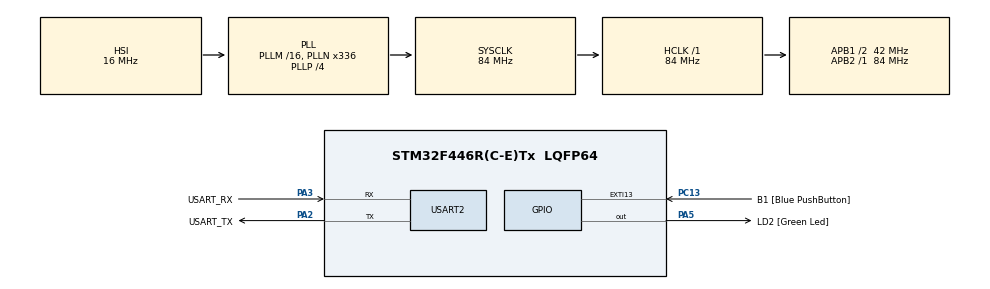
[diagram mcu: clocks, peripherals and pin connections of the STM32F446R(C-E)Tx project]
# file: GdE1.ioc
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Mcu.Family=STM32F4
Mcu.Name=STM32F446R(C-E)Tx
Mcu.Package=LQFP64
NVIC.PriorityGroup=NVIC_PRIORITYGROUP_0
PA13.GPIO_Label=TMS
PA13.Mode=Serial_Wire
PA13.Signal=SYS_JTMS-SWDIO
PA14.GPIO_Label=TCK
PA14.Mode=Serial_Wire
PA14.Signal=SYS_JTCK-SWCLK
PA2.GPIO_Label=USART_TX
PA2.Mode=Asynchronous
PA2.Signal=USART2_TX
PA3.GPIO_Label=USART_RX
PA3.Mode=Asynchronous
PA3.Signal=USART2_RX
PA5.GPIO_Label=LD2 [Green Led]
PA5.Signal=GPIO_Output
PB3.GPIO_Label=SWO
PB3.Signal=SYS_JTDO-SWO
PC13.GPIO_Label=B1 [Blue PushButton]
PC13.GPIO_ModeDefaultEXTI=GPIO_MODE_IT_FALLING
PC13.Signal=GPXTI13
PC14-OSC32_IN.Mode=LSE-External-Oscillator
PC14-OSC32_IN.Signal=RCC_OSC32_IN
PC15-OSC32_OUT.Mode=LSE-External-Oscillator
PC15-OSC32_OUT.Signal=RCC_OSC32_OUT
PH0-OSC_IN.Mode=HSE-External-Oscillator
PH0-OSC_IN.Signal=RCC_OSC_IN
PH1-OSC_OUT.Mode=HSE-External-Oscillator
PH1-OSC_OUT.Signal=RCC_OSC_OUT
ProjectManager.HeapSize=0x200
ProjectManager.StackSize=0x400
ProjectManager.TargetToolchain=STM32CubeIDE
RCC.48MHZClocksFreq_Value=84000000
RCC.AHBFreq_Value=84000000
RCC.APB1CLKDivider=RCC_HCLK_DIV2
RCC.APB1Freq_Value=42000000
RCC.APB1TimFreq_Value=84000000
RCC.APB2Freq_Value=84000000
RCC.APB2TimFreq_Value=84000000
RCC.CortexFreq_Value=84000000
RCC.FLatency-AdvancedSettings=FLASH_LATENCY_2
RCC.HCLKFreq_Value=84000000
RCC.HSE_VALUE=8000000
RCC.HSI_VALUE=16000000
RCC.PLLN=336
RCC.PLLP=RCC_PLLP_DIV4
RCC.SYSCLKFreq_VALUE=84000000
RCC.SYSCLKSource=RCC_SYSCLKSOURCE_PLLCLK
RCC.USBFreq_Value=168000000
RCC.VCOOutputFreq_Value=336000000
USART2.VirtualMode=VM_ASYNC
board=NUCLEO-F446RE

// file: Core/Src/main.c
/* USER CODE BEGIN Header */
/**
  ******************************************************************************
  * @file           : main.c
  * @brief          : Main program body
  ******************************************************************************
  * @attention
  *
  * Copyright (c) 2025 STMicroelectronics.
  * All rights reserved.
  *
  * This software is licensed under terms that can be found in the LICENSE file
  * in the root directory of this software component.
  * If no LICENSE file comes with this software, it is provided AS-IS.
  *
  ******************************************************************************
  */
/* USER CODE END Header */
#include "main.h"

/* USER CODE BEGIN Includes */
#include "functions.h"

/* USER CODE END Includes */

UART_HandleTypeDef huart2;

void SystemClock_Config(void);
static void MX_GPIO_Init(void);
static void MX_USART2_UART_Init(void);

int main(void)
{

  /* MCU Configuration--------------------------------------------------------*/

  /* Reset of all peripherals, Initializes the Flash interface and the Systick. */
  HAL_Init();

  /* Configure the system clock */
  SystemClock_Config();

  /* Initialize all configured peripherals */
  MX_GPIO_Init();
  MX_USART2_UART_Init();
  /* USER CODE BEGIN 2 */

  /* ----------- Ejercicio 1 ----------- */
  uint16_t esc = 6;
  uint32_t vec[] = {1, 2, 3, 4, 5};
  uint32_t lon = sizeof(vec)/sizeof(vec[0]);
  uint32_t vecOut1[lon], vecOut2[lon];
  productoEscalar32(vec, vecOut1, lon, esc);            // Esperado: 6, 12, 18, 24, 30
  asm_productoEscalar32(vec, vecOut2, lon, esc);
  /* ----------- Ejercicio 1 ----------- */

  /* ----------- Ejercicio 2 ----------- */
  uint16_t esc12 = 3;
  uint16_t vec12[] = {100, 1000, 2000, 4000, 5};
  uint32_t lon12 = sizeof(vec12)/sizeof(vec12[0]);
  uint16_t vecOut3[lon12], vecOut4[lon12];
  productoEscalar12(vec12, vecOut3, lon12, esc12);      // Esperado: 300, 3000, 4095, 4095, 15
  asm_productoEscalar12(vec12, vecOut4, lon12, esc12);
  /* ----------- Ejercicio 2 ----------- */

  /* ----------- Ejercicio 3 ----------- */
  uint32_t a = 1023;
  uint32_t b = bitfield_clear(a, 5, 3);                 // Esperado: 775 (0x307)
  uint32_t c = asm_bitfield_clear(a, 5, 3);
  /* ----------- Ejercicio 3 ----------- */

  /* ----------- Ejercicio 4 ----------- */
  uint32_t d = 0x0F0;
  uint32_t e = bitfield_toggle(d, 8, 4);                // Esperado: 0xF00
  uint32_t f = asm_bitfield_toggle(d, 8, 4);
  /* ----------- Ejercicio 4 ----------- */

  /* USER CODE END 2 */

  /* Infinite loop */
  while (1)
  {

  }
}

void SystemClock_Config(void)
{
  RCC_OscInitTypeDef RCC_OscInitStruct = {0};
  RCC_ClkInitTypeDef RCC_ClkInitStruct = {0};

  /** Configure the main internal regulator output voltage
  */
  __HAL_RCC_PWR_CLK_ENABLE();
  __HAL_PWR_VOLTAGESCALING_CONFIG(PWR_REGULATOR_VOLTAGE_SCALE3);

  /** Initializes the RCC Oscillators according to the specified parameters
  * in the RCC_OscInitTypeDef structure.
  */
  RCC_OscInitStruct.OscillatorType = RCC_OSCILLATORTYPE_HSI;
  RCC_OscInitStruct.HSIState = RCC_HSI_ON;
  RCC_OscInitStruct.HSICalibrationValue = RCC_HSICALIBRATION_DEFAULT;
  RCC_OscInitStruct.PLL.PLLState = RCC_PLL_ON;
  RCC_OscInitStruct.PLL.PLLSource = RCC_PLLSOURCE_HSI;
  RCC_OscInitStruct.PLL.PLLM = 16;
  RCC_OscInitStruct.PLL.PLLN = 336;
  RCC_OscInitStruct.PLL.PLLP = RCC_PLLP_DIV4;
  RCC_OscInitStruct.PLL.PLLQ = 2;
  RCC_OscInitStruct.PLL.PLLR = 2;
  if (HAL_RCC_OscConfig(&RCC_OscInitStruct) != HAL_OK)
  {
    Error_Handler();
  }

  /** Initializes the CPU, AHB and APB buses clocks
  */
  RCC_ClkInitStruct.ClockType = RCC_CLOCKTYPE_HCLK|RCC_CLOCKTYPE_SYSCLK
                              |RCC_CLOCKTYPE_PCLK1|RCC_CLOCKTYPE_PCLK2;
  RCC_ClkInitStruct.SYSCLKSource = RCC_SYSCLKSOURCE_PLLCLK;
  RCC_ClkInitStruct.AHBCLKDivider = RCC_SYSCLK_DIV1;
  RCC_ClkInitStruct.APB1CLKDivider = RCC_HCLK_DIV2;
  RCC_ClkInitStruct.APB2CLKDivider = RCC_HCLK_DIV1;

  if (HAL_RCC_ClockConfig(&RCC_ClkInitStruct, FLASH_LATENCY_2) != HAL_OK)
  {
    Error_Handler();
  }
}

static void MX_USART2_UART_Init(void)
{

  huart2.Instance = USART2;
  huart2.Init.BaudRate = 115200;
  huart2.Init.WordLength = UART_WORDLENGTH_8B;
  huart2.Init.StopBits = UART_STOPBITS_1;
  huart2.Init.Parity = UART_PARITY_NONE;
  huart2.Init.Mode = UART_MODE_TX_RX;
  huart2.Init.HwFlowCtl = UART_HWCONTROL_NONE;
  huart2.Init.OverSampling = UART_OVERSAMPLING_16;
  if (HAL_UART_Init(&huart2) != HAL_OK)
  {
    Error_Handler();
  }

}

static void MX_GPIO_Init(void)
{
  GPIO_InitTypeDef GPIO_InitStruct = {0};

  /* GPIO Ports Clock Enable */
  __HAL_RCC_GPIOC_CLK_ENABLE();
  __HAL_RCC_GPIOH_CLK_ENABLE();
  __HAL_RCC_GPIOA_CLK_ENABLE();
  __HAL_RCC_GPIOB_CLK_ENABLE();

  /*Configure GPIO pin Output Level */
  HAL_GPIO_WritePin(LD2_GPIO_Port, LD2_Pin, GPIO_PIN_RESET);

  /*Configure GPIO pin : B1_Pin */
  GPIO_InitStruct.Pin = B1_Pin;
  GPIO_InitStruct.Mode = GPIO_MODE_IT_FALLING;
  GPIO_InitStruct.Pull = GPIO_NOPULL;
  HAL_GPIO_Init(B1_GPIO_Port, &GPIO_InitStruct);

  /*Configure GPIO pin : LD2_Pin */
  GPIO_InitStruct.Pin = LD2_Pin;
  GPIO_InitStruct.Mode = GPIO_MODE_OUTPUT_PP;
  GPIO_InitStruct.Pull = GPIO_NOPULL;
  GPIO_InitStruct.Speed = GPIO_SPEED_FREQ_LOW;
  HAL_GPIO_Init(LD2_GPIO_Port, &GPIO_InitStruct);

}

void Error_Handler(void)
{
  __disable_irq();
  while (1)
  {
  }
}
